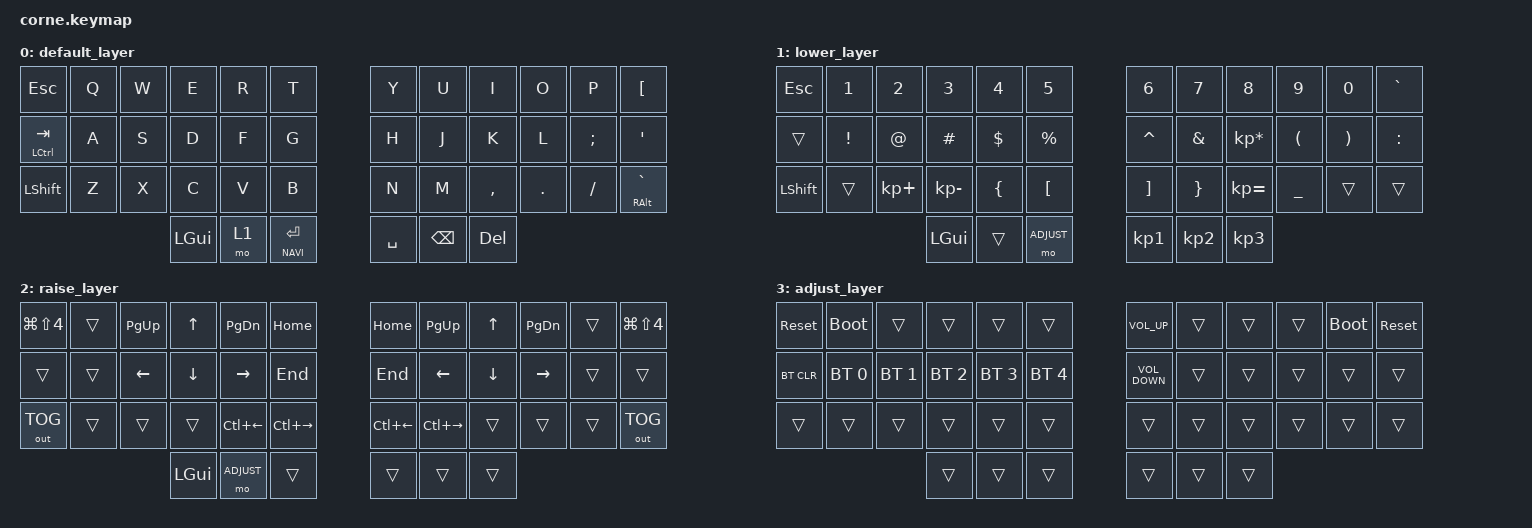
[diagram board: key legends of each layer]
/*
 * Copyright (c) 2020 The ZMK Contributors
 *
 * SPDX-License-Identifier: MIT
 */

#include <behaviors.dtsi>
#include <dt-bindings/zmk/keys.h>
#include <dt-bindings/zmk/bt.h>
#include <dt-bindings/zmk/ext_power.h>
#include <dt-bindings/zmk/outputs.h>


#define QWERTY 0
#define NUMB 1
#define NAVI 2
#define ADJUST 3


&lt {
    quick_tap_ms = <220>;
};

&mt {
    quick_tap_ms = <220>;
};

/ {
    macros {
        numdot: numdot {
            label = "ZM_numdot";
            compatible = "zmk,behavior-macro";
            #binding-cells = <0>;
            wait-ms = <40>;
            tap-ms = <40>;
            bindings =
                <&macro_press>,
                <&kp LALT>,
                <&macro_tap>,
                <&kp KP_N4 &kp KP_N6>,
                <&macro_release>,
                <&kp LALT>;
        };
        grtsgn: grtsgn {
            label = "ZM_grtsgn";
            compatible = "zmk,behavior-macro";
            #binding-cells = <0>;
            wait-ms = <40>;
            tap-ms = <40>;
            bindings =
                <&macro_press>,
                <&kp LALT>,
                <&macro_tap>,
                <&kp KP_N6 &kp KP_N2>,
                <&macro_release>,
                <&kp LALT>;
        };
    };
};

/ {
    keymap {
        compatible = "zmk,keymap";

        default_layer {
// .--------------------------------------------------------------.       .-----------------------------------------------------------.
// |   ESC        |    Q    |    W   |   E    |    R    |    T    |       |   Y   |    U    |    I    |    O    |     P    |    [     |
// |--------------+---------+--------+--------+---------+---------|       |-------+---------+---------+---------+----------+----------|
// |   CTRL/Tab   |    A    |    S   |   D    |    F    |    G    |       |   H   |    J    |    K    |    L    |     ;    |     '    |
// |--------------+---------+--------+--------+---------+---------|       |-------+---------+---------+---------+----------+----------|
// |   SHFT       |    Z    |    X   |   C    |    V    |    B    |       |   N   |    M    |    ,    |    .    |     /    | ` | ALT  |
// '---------------------------------+--------+---------+---------+       |-------+---------+---------+-------------------------------'
//                                   |  GUI   |   MO1   |   ENT   |       |  SPC  |   BKSP  |  CAPS   |
//                                   '--------+---------+---------'       '-------+---------+---------' 
            bindings = <
                        &kp ESC   &kp Q           &kp W     &kp E     &kp R          &kp T     &kp Y &kp U &kp I     &kp O   &kp P   &kp LBKT
                        &mt LCTRL TAB &kp A           &kp S     &kp D     &kp F          &kp G     &kp H &kp J &kp K     &kp L   &kp SEMI   &kp SQT
                        &kp LSHFT   &kp Z           &kp X     &kp C     &kp V          &kp B     &kp N &kp M &kp COMMA &kp DOT &kp FSLH &mt RALT GRAVE
                        &kp LGUI   &mo 1   &lt NAVI RET   &kp SPACE   &kp BSPC   &kp DEL
            >;
        };

        lower_layer {
// .--------------------------------------------------------------.       .-----------------------------------------------------------.
// |   ESC        |    1    |    2   |   3    |    4    |    5    |       |   6   |    7    |    8    |    9    |     0    |    `     |
// |--------------+---------+--------+--------+---------+---------|       |-------+---------+---------+---------+----------+----------|
// |              |    !    |    @   |   #    |    $    |    %    |       |   ^   |    &    |    *    |    (    |     )    |     :    |
// |--------------+---------+--------+--------+---------+---------|       |-------+---------+---------+---------+----------+----------|
// |   SHFT       |         |    +   |   -    |    {    |    [    |       |   ]   |    }    |    =    |    _    |          |          |
// '---------------------------------+--------+---------+---------+       |-------+---------+---------+-------------------------------'
//                                   |  GUI   |         |   MO3   |       |   ,   |    .    |   ?     |
//  
            bindings = <
                        &kp ESC    &kp N1       &kp N2            &kp N3             &kp N4               &kp N5            &kp N6                   &kp N7                     &kp N8                 &kp N9                   &kp N0     &kp GRAVE
   &trans     &kp EXCL     &kp AT            &kp HASH           &kp DLLR             &kp PRCNT         &kp CARET                &kp AMPS                   &kp KP_MULTIPLY        &kp LPAR                 &kp RPAR   &kp COLON
   &kp LSHFT  &trans       &kp KP_PLUS       &kp KP_MINUS       &kp LEFT_BRACE       &kp LEFT_BRACKET  &kp RIGHT_BRACKET        &kp RIGHT_BRACE            &kp KP_EQUAL           &kp UNDERSCORE           &trans     &trans
                                             &kp LGUI           &trans               &mo ADJUST        &kp KP_N1                &kp KP_N2   &kp KP_N3
            >;
        };

        raise_layer {
// .----------------------------------------------------------------.       .-----------------------------------------------------------------.
// |   CMD+SHIFT+4  |       |   PU   |   UP   |    PD    |   HOME   |       |  HOME   |    PU    |    UP   |   PD    |          | CMD+SHIFT+4 |
// |----------------+-------+--------+--------+----------+----------|       |---------+----------+---------+---------+----------+-------------|
// |                |       |  LEFT  |  DOWN  |   RIGHT  |   END    |       |  END    |   LEFT   |   DOWN  |  RIGHT  |          |             |
// |----------------+-------+--------+--------+----------+----------|       |---------+----------+---------+---------+----------+-------------|
// |     OUT_TOG    |       |        |        |CTRL+LEFT |CTRL+RIGHT|       |CTRL+LEFT|CTRL+RIGHT|         |         |          |   OUT_TOG   |
// '---------------------------------+--------+----------+----------+       |---------+----------+---------+----------------------------------'
//                                   |  GUI   |   MO3    |          |       |         |          |         |
//                                   '--------+----------+----------'       '---------+----------+---------'

            bindings = <
                        &kp LG(LS(N4)) &trans    &kp PAGE_UP    &kp UP_ARROW    &kp PAGE_DOWN    &kp HOME   &kp HOME        &kp PAGE_UP     &kp UP_ARROW     &kp PAGE_DOWN    &trans &kp LG(LS(N4))
                        &trans       &trans    &kp LEFT_ARROW    &kp DOWN_ARROW    &kp RIGHT_ARROW     &kp END     &kp END       &kp LEFT_ARROW    &kp DOWN_ARROW &kp RIGHT_ARROW   &trans   &trans
                        &out OUT_TOG     &trans    &trans    &trans    &kp LC(LEFT_ARROW)   &kp LC(RIGHT_ARROW)        &kp LC(LEFT_ARROW)      &kp LC(RIGHT_ARROW)    &trans    &trans   &trans   &out OUT_TOG
                        &kp LGUI                  &mo ADJUST          &trans    &trans    &trans       &trans
            >;
        };

        adjust_layer {
// .--------------------------------------------------------.       .--------------------------------------------------------------.
// |         |        |        |        |         |         |       |  VOL+  |        |         |         |          |             |
// |---------+--------+--------+--------+---------+---------|       |--------+--------+---------+---------+----------+-------------|
// |  BTCLR  |  BT1   |  BT2   |  BT3   |  BT4    |  BT5    |       |  VOL-  |        |         |         |          |             |
// |---------+--------+--------+--------+---------+---------|       |--------+--------+---------+---------+----------+-------------|
// |         |        |        |        |         |         |       |        |        |         |         |          |             |
// '---------------------------+--------+---------+---------+       |--------+--------+---------+----------------------------------'
//                             |        |         |         |       |        |        |         |
//                             '--------+---------+---------'       '--------+--------+---------'
            bindings = <
                        &sys_reset             &bootloader           &trans        &trans        &trans        &trans        &kp C_VOLUME_UP        &trans        &trans        &trans        &bootloader        &sys_reset
                        &bt BT_CLR              &bt BT_SEL 0    &bt BT_SEL 1 &bt BT_SEL 2 &bt BT_SEL 3 &bt BT_SEL 4 &kp C_VOLUME_DOWN &trans &trans &trans &trans &trans
                        &trans              &trans    &trans &trans &trans &trans &trans &trans &trans &trans &trans &trans
                        &trans                  &trans           &trans       &trans       &trans        &trans
            >;
        };
    };
};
